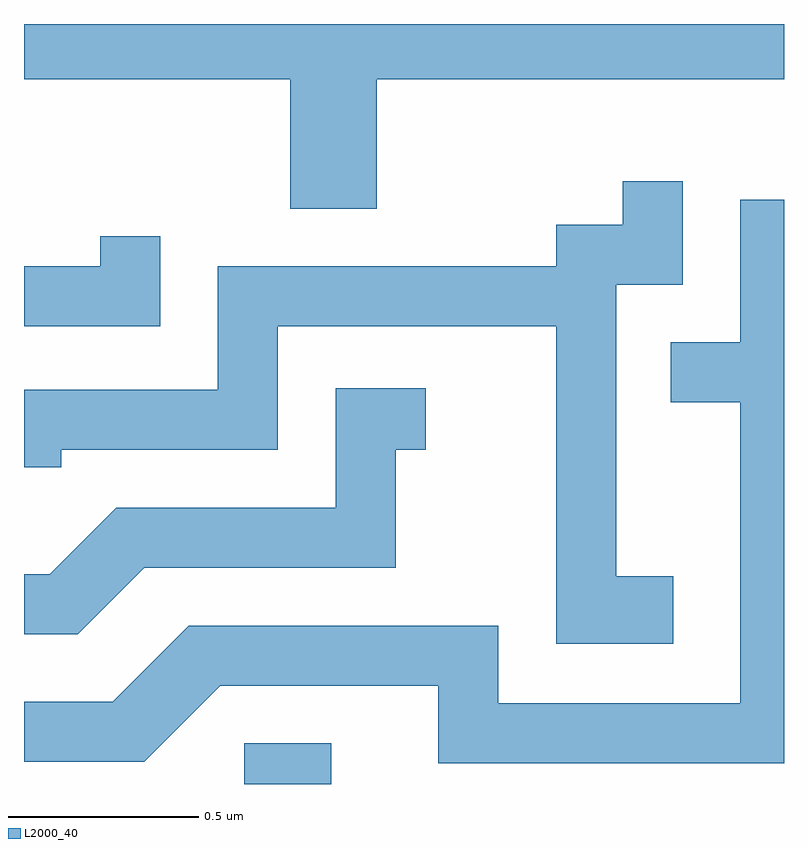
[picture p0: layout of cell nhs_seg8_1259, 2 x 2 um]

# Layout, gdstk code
import gdstk
lib = gdstk.Library(unit=1e-6, precision=1e-09)
def R(c, l, rs):  # rectangles x0, y0, x1, y1
    for r in rs: c.add(gdstk.rectangle(r[:2], r[2:], *l))
def P(c, l, *ps):  # polygons
    for p in ps: c.add(gdstk.Polygon(p, *l))
L2000_40 = (2000, 40)

nhs_seg8_1259 = lib.new_cell('nhs_seg8_1259')
R(nhs_seg8_1259, L2000_40, [(195.191,1832.342,195.419,1832.449)])
P(nhs_seg8_1259, L2000_40, [(195.539,1834.196),(196.611,1834.196),(196.611,1834.342),(194.611,1834.342),(194.611,1834.196),(195.311,1834.196),(195.311,1833.856),(195.539,1833.856)],
  [(196.319,1832.889),(196.169,1832.889),(196.169,1833.656),(196.344,1833.656),(196.344,1833.928),(196.186,1833.928),(196.186,1833.814),(196.011,1833.814),(196.011,1833.704),(195.121,1833.704),(195.121,1833.379),(194.611,1833.379),(194.611,1833.176),(194.709,1833.176),(194.709,1833.221),(195.279,1833.221),(195.279,1833.546),(196.011,1833.546),(196.011,1832.711),(196.319,1832.711)],
  [(196.611,1833.879),(196.496,1833.879),(196.496,1833.504),(196.313,1833.504),(196.313,1833.346),(196.496,1833.346),(196.496,1832.554),(195.859,1832.554),(195.859,1832.759),(195.044,1832.759),(194.844,1832.559),(194.611,1832.559),(194.611,1832.401),(194.927,1832.401),(195.127,1832.601),(195.701,1832.601),(195.701,1832.396),(196.611,1832.396)],
  [(194.969,1833.783),(194.811,1833.783),(194.811,1833.704),(194.611,1833.704),(194.611,1833.546),(194.969,1833.546)],
  [(194.927,1832.911),(195.589,1832.911),(195.589,1833.221),(195.668,1833.221),(195.668,1833.384),(195.431,1833.384),(195.431,1833.069),(194.854,1833.069),(194.679,1832.894),(194.611,1832.894),(194.611,1832.736),(194.752,1832.736)])

lib.write_gds('nhs_seg8_1259.gds')
